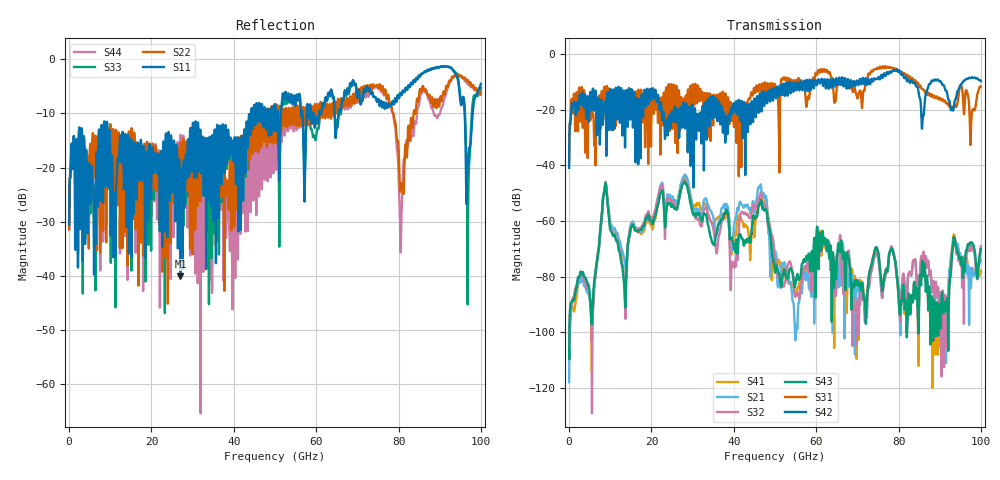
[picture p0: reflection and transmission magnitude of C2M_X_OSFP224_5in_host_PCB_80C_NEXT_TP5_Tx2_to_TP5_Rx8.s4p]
# GHz S RI R 45
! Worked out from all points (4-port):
!   4000 points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, 25 MHz to 100 GHz, reference 45 ohm
!   strongest paths, dB at 25 MHz, 25.02 GHz, 50.02 GHz, 75.03 GHz, 100 GHz:
!     S42: -40.9, -20.7, -12.9, -8.5, -9.7
!     S31: -39.0, -15.9, -10.9, -5.2, -11.7
!     S43: -106.3, -54.5, -78.6, -71.1, -70.2
!     S32: -104.3, -52.9, -73.6, -73.1, -69.1
!     S21: -117.9, -51.6, -70.8, -73.1, -74.2
!     S41: -100.3, -53.0, -72.5, -71.0, -78.0
!   lowest |S11| = -40.1 dB at 27.05 GHz (marker M1), VSWR 1.02, Z = 45.8 - j0.496 ohm
!   |S11| at or under -10 dB: start of sweep to 44.22 GHz; 59.34 GHz to 60.74 GHz (1.403 GHz wide, 2.34 % of centre); 96.08 GHz to 98.01 GHz (1.929 GHz wide, 1.99 % of centre) (the widest 3 of 20)
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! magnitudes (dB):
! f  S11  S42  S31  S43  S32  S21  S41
! 25 MHz  -30.6  -40.9  -39.0  -106.3  -104.3  -117.9  -100.3
! 8.7 GHz  -13.1  -17.5  -12.6  -47.8  -47.7  -47.6  -47.8
! 27.05 GHz  -40.1  -19.5  -20.4  -49.6  -49.7  -47.7  -47.7
! 39.62 GHz  -15.7  -21.5  -20.7  -66.7  -74.7  -69.5  -70.9
! 46.38 GHz  -9.3  -14.1  -11.6  -53.5  -50.7  -47.7  -51.6
! 50.92 GHz  -18.9  -15.2  -25.2  -78.8  -80.1  -82.5  -74.0
! 100 GHz  -4.6  -9.7  -11.7  -70.2  -69.1  -74.2  -78.0
